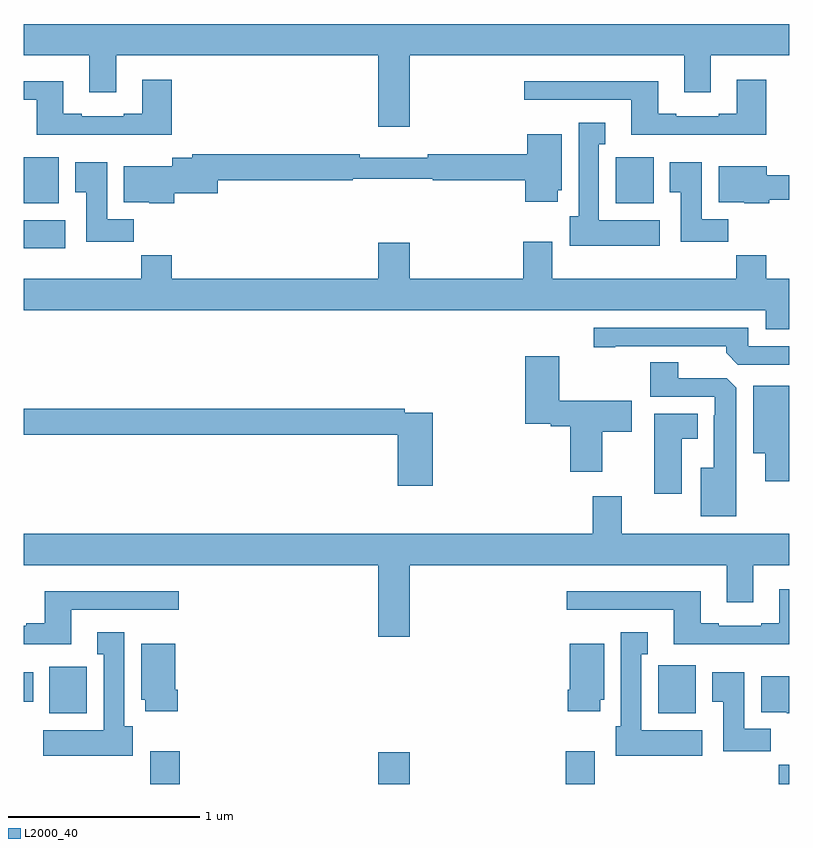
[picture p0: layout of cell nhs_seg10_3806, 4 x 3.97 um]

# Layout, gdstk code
import gdstk
lib = gdstk.Library(unit=1e-6, precision=1e-09)
def R(c, l, rs):  # rectangles x0, y0, x1, y1
    for r in rs: c.add(gdstk.rectangle(r[:2], r[2:], *l))
def P(c, l, *ps):  # polygons
    for p in ps: c.add(gdstk.Polygon(p, *l))
L2000_40 = (2000, 40)

nhs_seg10_3806 = lib.new_cell('nhs_seg10_3806')
R(nhs_seg10_3806, L2000_40, [(319.661,1304.5,319.814,1304.671), (320.852,1304.5,321.016,1304.665), (321.833,1304.5,321.985,1304.671), (322.945,1304.5,323,1304.6), (319.133,1304.87,319.33,1305.112), (322.317,1304.87,322.513,1305.12), (319,1304.929,319.048,1305.085), (319,1307.3,319.216,1307.446), (319,1307.534,319.183,1307.776), (322.094,1307.534,322.291,1307.776)])
P(nhs_seg10_3806, L2000_40, [(321.016,1308.308),(322.451,1308.308),(322.451,1308.114),(322.591,1308.114),(322.591,1308.308),(323,1308.308),(323,1308.472),(319,1308.472),(319,1308.308),(319.343,1308.308),(319.343,1308.114),(319.483,1308.114),(319.483,1308.308),(320.852,1308.308),(320.852,1307.934),(321.016,1307.934)],
  [(319.772,1308.181),(319.619,1308.181),(319.619,1308.004),(319.523,1308.004),(319.523,1307.991),(319.303,1307.991),(319.303,1308.004),(319.207,1308.004),(319.207,1308.172),(319,1308.172),(319,1308.075),(319.067,1308.075),(319.067,1307.894),(319.772,1307.894)],
  [(322.88,1308.181),(322.727,1308.181),(322.727,1308.004),(322.631,1308.004),(322.631,1307.991),(322.411,1307.991),(322.411,1308.004),(322.315,1308.004),(322.315,1308.172),(321.615,1308.172),(321.615,1308.075),(322.175,1308.075),(322.175,1307.894),(322.88,1307.894)],
  [(322.324,1307.446),(322.006,1307.446),(322.006,1307.843),(322.039,1307.843),(322.039,1307.956),(321.899,1307.956),(321.899,1307.466),(321.854,1307.466),(321.854,1307.312),(322.324,1307.312)],
  [(319.787,1307.588),(320.014,1307.588),(320.014,1307.656),(320.719,1307.656),(320.719,1307.664),(321.136,1307.664),(321.136,1307.656),(321.62,1307.656),(321.62,1307.544),(321.79,1307.544),(321.79,1307.604),(321.811,1307.604),(321.811,1307.896),(321.632,1307.896),(321.632,1307.792),(321.112,1307.792),(321.112,1307.773),(320.756,1307.773),(320.756,1307.792),(319.879,1307.792),(319.879,1307.773),(319.775,1307.773),(319.775,1307.728),(319.523,1307.728),(319.523,1307.54),(319.656,1307.54),(319.656,1307.534),(319.787,1307.534)],
  [(319.574,1307.452),(319.435,1307.452),(319.435,1307.749),(319.268,1307.749),(319.268,1307.593),(319.325,1307.593),(319.325,1307.334),(319.574,1307.334)],
  [(322.682,1307.452),(322.543,1307.452),(322.543,1307.749),(322.376,1307.749),(322.376,1307.593),(322.433,1307.593),(322.433,1307.334),(322.682,1307.334)],
  [(322.895,1307.553),(323,1307.553),(323,1307.681),(322.882,1307.681),(322.882,1307.728),(322.631,1307.728),(322.631,1307.54),(322.764,1307.54),(322.764,1307.534),(322.895,1307.534)],
  [(323,1307.14),(322.88,1307.14),(322.88,1307.264),(322.723,1307.264),(322.723,1307.14),(321.763,1307.14),(321.763,1307.335),(321.611,1307.335),(321.611,1307.14),(321.016,1307.14),(321.016,1307.329),(320.852,1307.329),(320.852,1307.14),(319.772,1307.14),(319.772,1307.264),(319.615,1307.264),(319.615,1307.14),(319,1307.14),(319,1306.976),(322.877,1306.976),(322.877,1306.877),(323,1306.877)],
  [(323,1306.788),(322.785,1306.788),(322.785,1306.884),(321.978,1306.884),(321.978,1306.783),(322.09,1306.783),(322.09,1306.788),(322.67,1306.788),(322.67,1306.754),(322.731,1306.692),(323,1306.692)],
  [(322.024,1306.342),(322.177,1306.342),(322.177,1306.504),(321.798,1306.504),(321.798,1306.735),(321.62,1306.735),(321.62,1306.382),(321.755,1306.382),(321.755,1306.37),(321.857,1306.37),(321.857,1306.131),(322.024,1306.131)],
  [(322.723,1306.571),(322.674,1306.62),(322.42,1306.62),(322.42,1306.703),(322.273,1306.703),(322.273,1306.524),(322.611,1306.524),(322.611,1306.427),(322.607,1306.427),(322.607,1306.153),(322.538,1306.153),(322.538,1305.899),(322.723,1305.899)],
  [(323,1306.582),(322.811,1306.582),(322.811,1306.229),(322.874,1306.229),(322.874,1306.083),(323,1306.083)],
  [(321.137,1306.44),(320.99,1306.44),(320.99,1306.46),(319,1306.46),(319,1306.324),(320.954,1306.324),(320.954,1306.059),(321.137,1306.059)],
  [(322.438,1306.304),(322.522,1306.304),(322.522,1306.435),(322.295,1306.435),(322.295,1306.017),(322.438,1306.017)],
  [(321.016,1305.644),(322.673,1305.644),(322.673,1305.45),(322.813,1305.45),(322.813,1305.644),(323,1305.644),(323,1305.808),(322.126,1305.808),(322.126,1306.003),(321.974,1306.003),(321.974,1305.808),(319,1305.808),(319,1305.644),(320.852,1305.644),(320.852,1305.27),(321.016,1305.27)],
  [(323,1305.517),(322.949,1305.517),(322.949,1305.34),(322.853,1305.34),(322.853,1305.327),(322.633,1305.327),(322.633,1305.34),(322.537,1305.34),(322.537,1305.508),(321.837,1305.508),(321.837,1305.411),(322.397,1305.411),(322.397,1305.23),(323,1305.23)],
  [(319.249,1305.411),(319.81,1305.411),(319.81,1305.508),(319.109,1305.508),(319.109,1305.34),(319.013,1305.34),(319.013,1305.327),(319,1305.327),(319,1305.23),(319.249,1305.23)],
  [(319.57,1304.802),(319.525,1304.802),(319.525,1305.292),(319.385,1305.292),(319.385,1305.179),(319.418,1305.179),(319.418,1304.782),(319.101,1304.782),(319.101,1304.648),(319.57,1304.648)],
  [(322.546,1304.782),(322.228,1304.782),(322.228,1305.179),(322.261,1305.179),(322.261,1305.292),(322.121,1305.292),(322.121,1304.802),(322.094,1304.802),(322.094,1304.648),(322.546,1304.648)],
  [(322.012,1304.94),(322.033,1304.94),(322.033,1305.232),(321.854,1305.232),(321.854,1304.992),(321.842,1304.992),(321.842,1304.88),(322.012,1304.88)],
  [(319.805,1304.992),(319.792,1304.992),(319.792,1305.232),(319.613,1305.232),(319.613,1304.94),(319.634,1304.94),(319.634,1304.88),(319.805,1304.88)],
  [(322.904,1304.788),(322.765,1304.788),(322.765,1305.085),(322.598,1305.085),(322.598,1304.929),(322.655,1304.929),(322.655,1304.67),(322.904,1304.67)],
  [(323,1305.064),(322.853,1305.064),(322.853,1304.876),(322.986,1304.876),(322.986,1304.87),(323,1304.87)])

lib.write_gds('nhs_seg10_3806.gds')
